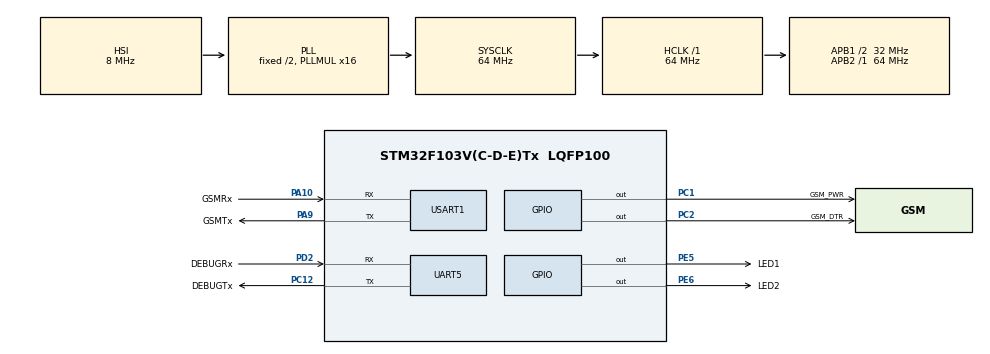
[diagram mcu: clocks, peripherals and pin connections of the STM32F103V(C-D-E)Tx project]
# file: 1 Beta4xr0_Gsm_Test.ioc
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Mcu.Family=STM32F1
Mcu.Name=STM32F103V(C-D-E)Tx
Mcu.Package=LQFP100
NVIC.PriorityGroup=NVIC_PRIORITYGROUP_4
NVIC.USART1_IRQn=true\:0\:0\:false\:false\:true\:true
PA10.GPIO_Label=GSMRx
PA10.Mode=Asynchronous
PA10.Signal=USART1_RX
PA9.GPIO_Label=GSMTx
PA9.Mode=Asynchronous
PA9.Signal=USART1_TX
PC1.GPIO_Label=GSM_PWR
PC1.PinState=GPIO_PIN_RESET
PC1.Signal=GPIO_Output
PC12.GPIO_Label=DEBUGTx
PC12.Mode=Asynchronous
PC12.Signal=UART5_TX
PC2.GPIO_Label=GSM_DTR
PC2.GPIO_ModeDefaultOutputPP=GPIO_MODE_OUTPUT_PP
PC2.GPIO_PuPd=GPIO_NOPULL
PC2.PinState=GPIO_PIN_RESET
PC2.Signal=GPIO_Output
PD2.GPIO_Label=DEBUGRx
PD2.Mode=Asynchronous
PD2.Signal=UART5_RX
PE5.GPIO_Label=LED1
PE5.GPIO_Speed=GPIO_SPEED_FREQ_HIGH
PE5.Signal=GPIO_Output
PE6.GPIO_Label=LED2
PE6.Signal=GPIO_Output
ProjectManager.HeapSize=0x200
ProjectManager.StackSize=0x400
ProjectManager.TargetToolchain=MDK-ARM V5
RCC.AHBFreq_Value=64000000
RCC.APB1CLKDivider=RCC_HCLK_DIV2
RCC.APB1Freq_Value=32000000
RCC.APB1TimFreq_Value=64000000
RCC.APB2Freq_Value=64000000
RCC.APB2TimFreq_Value=64000000
RCC.HCLKFreq_Value=64000000
RCC.PLLMUL=RCC_PLL_MUL16
RCC.SYSCLKFreq_VALUE=64000000
RCC.SYSCLKSource=RCC_SYSCLKSOURCE_PLLCLK
RCC.USBFreq_Value=64000000
UART5.VirtualMode=Asynchronous
USART1.VirtualMode=VM_ASYNC
VP_SYS_VS_ND.Mode=No_Debug
board=custom

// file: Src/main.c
/* USER CODE BEGIN Header */
/**
  ******************************************************************************
  * @file           : main.c
  * @brief          : Main program body
  ******************************************************************************
  ** This notice applies to any and all portions of this file
  * that are not between comment pairs USER CODE BEGIN and
  * USER CODE END. Other portions of this file, whether
  * inserted by the user or by software development tools
  * are owned by their respective copyright owners.
  *
  * COPYRIGHT(c) 2019 STMicroelectronics
  *
  * Redistribution and use in source and binary forms, with or without modification,
  * are permitted provided that the following conditions are met:
  *   1. Redistributions of source code must retain the above copyright notice,
  *      this list of conditions and the following disclaimer.
  *   2. Redistributions in binary form must reproduce the above copyright notice,
  *      this list of conditions and the following disclaimer in the documentation
  *      and/or other materials provided with the distribution.
  *   3. Neither the name of STMicroelectronics nor the names of its contributors
  *      may be used to endorse or promote products derived from this software
  *      without specific prior written permission.
  *
  * THIS SOFTWARE IS PROVIDED BY THE COPYRIGHT HOLDERS AND CONTRIBUTORS "AS IS"
  * AND ANY EXPRESS OR IMPLIED WARRANTIES, INCLUDING, BUT NOT LIMITED TO, THE
  * IMPLIED WARRANTIES OF MERCHANTABILITY AND FITNESS FOR A PARTICULAR PURPOSE ARE
  * DISCLAIMED. IN NO EVENT SHALL THE COPYRIGHT HOLDER OR CONTRIBUTORS BE LIABLE
  * FOR ANY DIRECT, INDIRECT, INCIDENTAL, SPECIAL, EXEMPLARY, OR CONSEQUENTIAL
  * DAMAGES (INCLUDING, BUT NOT LIMITED TO, PROCUREMENT OF SUBSTITUTE GOODS OR
  * SERVICES; LOSS OF USE, DATA, OR PROFITS; OR BUSINESS INTERRUPTION) HOWEVER
  * CAUSED AND ON ANY THEORY OF LIABILITY, WHETHER IN CONTRACT, STRICT LIABILITY,
  * OR TORT (INCLUDING NEGLIGENCE OR OTHERWISE) ARISING IN ANY WAY OUT OF THE USE
  * OF THIS SOFTWARE, EVEN IF ADVISED OF THE POSSIBILITY OF SUCH DAMAGE.
  *
  ******************************************************************************
  */
/* USER CODE END Header */

#include "main.h"
#include "usart.h"
#include "gpio.h"

/* USER CODE BEGIN Includes */
#include "string.h"
#include "stdio.h"
#include "math.h"
#include "stdlib.h"

/* USER CODE END Includes */

/* USER CODE BEGIN PV */
char Rx_data1[2];
char Rx_data5[2];

#define USART1_RX_BUFF_SIZE 100                //GSM
char USART1_Buffer[USART1_RX_BUFF_SIZE];
volatile uint32_t USART1_RX_COUNT = 0;

char *pointer;

/* USER CODE END PV */

void SystemClock_Config(void);

/* USER CODE BEGIN 0 */

#ifdef __GNUC__
	#define putchar_prototype int __io_putchar(int ch)
#else
	#define putchar_prototype int fputc(int ch, FILE *f)
#endif /* __GNUC__*/

putchar_prototype
{
HAL_UART_Transmit(&huart5,(uint8_t*)&ch, 1 , 1000);
return 0;
}

void dbg_Put_Str_P(char *dbgstr)
{
	HAL_UART_Transmit(&huart5,(uint8_t*) dbgstr, strlen(dbgstr), 5000);//used strlen instead of sizeof cause of pointer to string size calculation
}

void Error_led(uint8_t on)
{
	if(on)
	HAL_GPIO_WritePin(LED1_GPIO_Port	, LED1_Pin ,GPIO_PIN_SET);
	else
	HAL_GPIO_WritePin(LED1_GPIO_Port	, LED1_Pin ,GPIO_PIN_RESET);
}

void HAL_UART_RxCpltCallback(UART_HandleTypeDef *huart)
{
		if(huart->Instance == USART1)
		{
			USART1_Buffer[USART1_RX_COUNT] = Rx_data1[0];
			USART1_RX_COUNT++;
//			dbg_Put_Str_P(USART1_Buffer);
			HAL_UART_Receive_IT(&huart1, (uint8_t *)Rx_data1, 1);
		}
}

void Clear_USART1_Buffer(void)
{
	memset(USART1_Buffer,0,USART1_RX_BUFF_SIZE);
	USART1_RX_COUNT =0;
}

uint8_t Send_AT_RAM(char *command,char *reply,uint32_t reply_timeout)
{
		uint32_t wait_time;

	if(reply_timeout == 0	) //no delay and wait for reply i.e. reply is not expected
		{
		HAL_UART_Transmit(&huart1, (uint8_t*)command, strlen(command), 5000);
		return 1;
		}

	wait_time = HAL_GetTick();
	wait_time = wait_time + reply_timeout ;

	Clear_USART1_Buffer();
	pointer = strstr(USART1_Buffer,reply);
	//strcpy_P(aux_str,command) ;
	HAL_UART_Transmit(&huart1, (uint8_t*)command, strlen(command), 5000);

	dbg_Put_Str_P((uint8_t*)command);

	while(( wait_time > HAL_GetTick() ) && (!pointer))
		{
		//TODO;
		pointer = strstr(USART1_Buffer,reply);
		//HAL_Delay (100);
		}

	dbg_Put_Str_P("RCVD BUFF:");
    dbg_Put_Str_P(USART1_Buffer);

	if(!pointer)
	{
	dbg_Put_Str_P(("TIMEUP\r"));
	return 0;
	}

	dbg_Put_Str_P(("MATCH\r"));
	return 1;

}

uint8_t Init_Modem()
{
//	dbg_Put_Str_P(("ATZ7\r"));

	if(!Send_AT_RAM("AT\r","OK",2000))
		return 0;
	if(!Send_AT_RAM("ATV1\r","OK",2000))				//Result Codes Numeric Equivalents and Brief Descriptions
		return 0;
	if(!Send_AT_RAM("ATE0\r","OK",2000))				//Echo OFF
		return 0;
	if(!Send_AT_RAM(" AT+CMEE=2\r","OK",2000))	//Enable result code and use verbose values
		return 0;
	if(!Send_AT_RAM("AT+IPR?\r","OK",2000))			//Get the baudrate, if the value is 0 (auto baudrate),then it will be set to 115200(fixed baudrate)
																							//to assure reliable communication and avoid any problems caused by undetermined
																							//baudrate between DCE and DTE, value of IPR should be saved with AT&W */

		return 0;
	if(!Send_AT_RAM("ATI\r","OK",2000))					//se ATI to get module information of Manufacturer ID, Device module and Firmware version
		return 0;
	if(!Send_AT_RAM("AT+GSN\r","OK",5000))			//Use AT+GSN to query the IMEI of module
		return 0;
	if(!Send_AT_RAM("AT+CPIN?\r","OK",2000))//Use AT+CPIN? to query the SIM card status : SIM card inserted or not, locked or unlocked
		return 0;

	return 1;
}

uint8_t Reset_Modem(uint8_t retries)
	{
	uint8_t ret =0;
		int i;
//	gsm_power_off();
//	gsm_power_on();

	HAL_GPIO_WritePin(GSM_PWR_GPIO_Port, GSM_PWR_Pin, GPIO_PIN_RESET);	///GSM Power OFF
	HAL_Delay(4000);
	HAL_GPIO_WritePin(GSM_PWR_GPIO_Port, GSM_PWR_Pin, GPIO_PIN_SET);	///GSM Power ON
//	HAL_GPIO_WritePin(GSM_DTR_GPIO_Port, GSM_DTR_Pin, GPIO_PIN_RESET); //WakeUp from Sleep

	HAL_Delay(5000);
	for(i=0;i<retries;i++)
		{
		if(Init_Modem())
			{
			ret =1;
			break;
			}
		else
			{
			//if(!take_scid())	  //no SIM CARD
			//	{
			//	retries = 0;
			//	dbg_Put_Str("SIM ERROR\r");
			//	}

			ret =0;
			}
        }

	return(ret);
	}

/* USER CODE END 0 */

int main(void)
{

  /* MCU Configuration--------------------------------------------------------*/

  /* Reset of all peripherals, Initializes the Flash interface and the Systick. */
  HAL_Init();

  /* Configure the system clock */
  SystemClock_Config();

  /* Initialize all configured peripherals */
  MX_GPIO_Init();
  MX_UART5_Init();
  MX_USART1_UART_Init();
  /* USER CODE BEGIN 2 */

	HAL_UART_Receive_IT(&huart1, (uint8_t *)Rx_data1, 1);   //activate UART receive interrupt every time
	HAL_UART_Receive_IT(&huart5, (uint8_t *)Rx_data5, 1);   //activate UART receive interrupt every time

printf("HELLO UART5\r\n");
	HAL_GPIO_TogglePin(LED1_GPIO_Port,LED1_Pin);
//	HAL_GPIO_TogglePin(LED2_GPIO_Port,LED2_Pin);

  /* USER CODE END 2 */

  /* Infinite loop */
  /* USER CODE BEGIN WHILE */
  while (1)
  {
//		HAL_GPIO_TogglePin(LED1_GPIO_Port,LED1_Pin);
//		printf("HELLO UART5\r\n");
//		HAL_Delay(1000);

				uint8_t gprserror =0;
RESETMDM:
		if(!Reset_Modem(10))
			{
			dbg_Put_Str_P ("Modem Failed...\r");
			Error_led(1);
			goto RESETMDM;
			}
		Error_led(0);
		dbg_Put_Str_P ("Modem Ready...\r");

		while(1);

    /* USER CODE END WHILE */

  }
}

void SystemClock_Config(void)
{
  RCC_OscInitTypeDef RCC_OscInitStruct = {0};
  RCC_ClkInitTypeDef RCC_ClkInitStruct = {0};

  /**Initializes the CPU, AHB and APB busses clocks
  */
  RCC_OscInitStruct.OscillatorType = RCC_OSCILLATORTYPE_HSI;
  RCC_OscInitStruct.HSIState = RCC_HSI_ON;
  RCC_OscInitStruct.HSICalibrationValue = RCC_HSICALIBRATION_DEFAULT;
  RCC_OscInitStruct.PLL.PLLState = RCC_PLL_ON;
  RCC_OscInitStruct.PLL.PLLSource = RCC_PLLSOURCE_HSI_DIV2;
  RCC_OscInitStruct.PLL.PLLMUL = RCC_PLL_MUL16;
  if (HAL_RCC_OscConfig(&RCC_OscInitStruct) != HAL_OK)
  {
    Error_Handler();
  }
  /**Initializes the CPU, AHB and APB busses clocks
  */
  RCC_ClkInitStruct.ClockType = RCC_CLOCKTYPE_HCLK|RCC_CLOCKTYPE_SYSCLK
                              |RCC_CLOCKTYPE_PCLK1|RCC_CLOCKTYPE_PCLK2;
  RCC_ClkInitStruct.SYSCLKSource = RCC_SYSCLKSOURCE_PLLCLK;
  RCC_ClkInitStruct.AHBCLKDivider = RCC_SYSCLK_DIV1;
  RCC_ClkInitStruct.APB1CLKDivider = RCC_HCLK_DIV2;
  RCC_ClkInitStruct.APB2CLKDivider = RCC_HCLK_DIV1;

  if (HAL_RCC_ClockConfig(&RCC_ClkInitStruct, FLASH_LATENCY_2) != HAL_OK)
  {
    Error_Handler();
  }
}

void Error_Handler(void)
{
}

/************************ (C) COPYRIGHT STMicroelectronics *****END OF FILE****/
